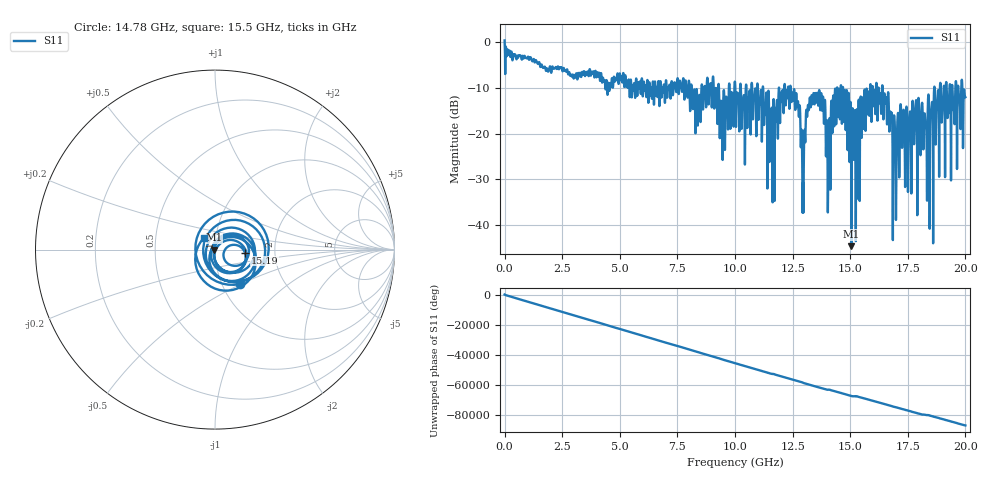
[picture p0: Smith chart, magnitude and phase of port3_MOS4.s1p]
! MS46122B
! 2250307/22442219
! 7/28/2025 8:00:41 AM
! C:\USERS\SPARKY\DOCUMENTS\VNA_DATA\JULY28_2025\295K\PORT3_MOS4.S1P
! CHANNEL.1
! TR.MEASUREMENT
! RAW.DATA
# GHZ S RI R 50.0
! FREQ.GHZ  S11RE  S11IM
!; PortSelection: Port_1
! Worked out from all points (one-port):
!   10001 points, 1 MHz to 20 GHz, reference 50 ohm
!   lowest |S11| = -44.7 dB at 15.06 GHz (marker M1), VSWR 1.01, Z = 49.4 - j0.0869 ohm
!   |S11| at or under -10 dB: 12.42 GHz to 14.43 GHz (2.009 GHz wide, 15 % of centre); 14.69 GHz to 15.87 GHz (1.175 GHz wide, 7.69 % of centre); 16.41 GHz to 18.65 GHz (2.238 GHz wide, 12.8 % of centre) (the widest 3 of 70)
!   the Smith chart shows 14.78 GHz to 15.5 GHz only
!   S11 on the Smith chart (normalised r, x): 14.78 GHz: 1.21, -0.49; 15.19 GHz: 1.40, -0.05; 15.5 GHz: 0.87, +0.11
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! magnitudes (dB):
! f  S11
! 1 MHz  0.4
! 2.501 GHz  -6.1
! 5.001 GHz  -6.9
! 7.501 GHz  -8.0
! 8.357 GHz  -12.4
! 8.981 GHz  -12.5
! 9.407 GHz  -12.8
! 10 GHz  -8.7
! 11.05 GHz  -13.2
! 11.64 GHz  -26.4
! 12.5 GHz  -11.4
! 12.74 GHz  -13.1
! 12.95 GHz  -30.9
! 13.33 GHz  -11.6
! 13.82 GHz  -11.9
! 14.05 GHz  -28.5
! 14.27 GHz  -11.7
! 14.78 GHz  -12.5
! 15 GHz  -14.2
! 15.06 GHz  -44.7
! 15.19 GHz  -15.5
! 15.5 GHz  -20.9
! 16.31 GHz  -11.4
! 16.72 GHz  -16.3
! 16.93 GHz  -17.5
! 17.25 GHz  -23.1
! 17.5 GHz  -27.8
! 20 GHz  -12.0
